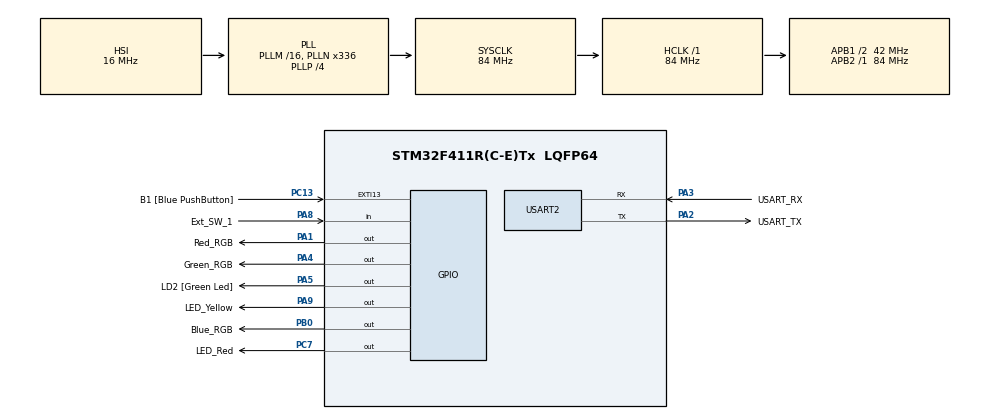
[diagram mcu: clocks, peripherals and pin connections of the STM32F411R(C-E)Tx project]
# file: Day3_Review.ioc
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Mcu.Family=STM32F4
Mcu.Name=STM32F411R(C-E)Tx
Mcu.Package=LQFP64
NVIC.PriorityGroup=NVIC_PRIORITYGROUP_0
PA1.GPIO_Label=Red_RGB
PA1.Signal=GPIO_Output
PA13.GPIO_Label=TMS
PA13.Mode=Serial_Wire
PA13.Signal=SYS_JTMS-SWDIO
PA14.GPIO_Label=TCK
PA14.Mode=Serial_Wire
PA14.Signal=SYS_JTCK-SWCLK
PA2.GPIO_Label=USART_TX
PA2.Mode=Asynchronous
PA2.Signal=USART2_TX
PA3.GPIO_Label=USART_RX
PA3.Mode=Asynchronous
PA3.Signal=USART2_RX
PA4.GPIO_Label=Green_RGB
PA4.Signal=GPIO_Output
PA5.GPIO_Label=LD2 [Green Led]
PA5.Signal=GPIO_Output
PA8.GPIO_Label=Ext_SW_1
PA8.Signal=GPIO_Input
PA9.GPIO_Label=LED_Yellow
PA9.Signal=GPIO_Output
PB0.GPIO_Label=Blue_RGB
PB0.Signal=GPIO_Output
PB3.GPIO_Label=SWO
PB3.Signal=SYS_JTDO-SWO
PC13-ANTI_TAMP.GPIO_Label=B1 [Blue PushButton]
PC13-ANTI_TAMP.GPIO_ModeDefaultEXTI=GPIO_MODE_IT_FALLING
PC13-ANTI_TAMP.Signal=GPXTI13
PC14-OSC32_IN.Mode=LSE-External-Oscillator
PC14-OSC32_IN.Signal=RCC_OSC32_IN
PC15-OSC32_OUT.Mode=LSE-External-Oscillator
PC15-OSC32_OUT.Signal=RCC_OSC32_OUT
PC7.GPIO_Label=LED_Red
PC7.Signal=GPIO_Output
PH0\ -\ OSC_IN.Mode=HSE-External-Clock-Source
PH0\ -\ OSC_IN.Signal=RCC_OSC_IN
PH1\ -\ OSC_OUT.Mode=HSE-External-Clock-Source
PH1\ -\ OSC_OUT.Signal=RCC_OSC_OUT
ProjectManager.HeapSize=0x200
ProjectManager.StackSize=0x400
ProjectManager.TargetToolchain=STM32CubeIDE
RCC.48MHZClocksFreq_Value=84000000
RCC.AHBFreq_Value=84000000
RCC.APB1CLKDivider=RCC_HCLK_DIV2
RCC.APB1Freq_Value=42000000
RCC.APB1TimFreq_Value=84000000
RCC.APB2Freq_Value=84000000
RCC.APB2TimFreq_Value=84000000
RCC.CortexFreq_Value=84000000
RCC.FLatency-AdvancedSettings=FLASH_LATENCY_2
RCC.HCLKFreq_Value=84000000
RCC.HSE_VALUE=8000000
RCC.HSI_VALUE=16000000
RCC.PLLN=336
RCC.PLLP=RCC_PLLP_DIV4
RCC.SYSCLKFreq_VALUE=84000000
RCC.SYSCLKSource=RCC_SYSCLKSOURCE_PLLCLK
RCC.VCOOutputFreq_Value=336000000
USART2.VirtualMode=VM_ASYNC
board=NUCLEO-F411RE

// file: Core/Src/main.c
/* USER CODE BEGIN Header */
/**
  ******************************************************************************
  * @file           : main.c
  * @brief          : Main program body
  ******************************************************************************
  * @attention
  *
  * Copyright (c) 2023 STMicroelectronics.
  * All rights reserved.
  *
  * This software is licensed under terms that can be found in the LICENSE file
  * in the root directory of this software component.
  * If no LICENSE file comes with this software, it is provided AS-IS.
  *
  ******************************************************************************
  */
/* USER CODE END Header */
#include "main.h"

UART_HandleTypeDef huart2;

void SystemClock_Config(void);
static void MX_GPIO_Init(void);
static void MX_USART2_UART_Init(void);

int main(void)
{

  /* MCU Configuration--------------------------------------------------------*/

  /* Reset of all peripherals, Initializes the Flash interface and the Systick. */
  HAL_Init();

  /* USER CODE BEGIN Init */
  int count = 0;
  /* USER CODE END Init */

  /* Configure the system clock */
  SystemClock_Config();

  /* Initialize all configured peripherals */
  MX_GPIO_Init();
  MX_USART2_UART_Init();

  /* Infinite loop */
  while (1)
  {

    /* USER CODE BEGIN 3 */

	  GPIO_PinState r = HAL_GPIO_ReadPin(Ext_SW_1_GPIO_Port, Ext_SW_1_Pin);
	  if(r == 1)
	  {
		  count++;
	  }

	  switch(count)
	  {
	  	case 1 :
	  		HAL_GPIO_WritePin(Green_RGB_GPIO_Port, Green_RGB_Pin, 0);
	  		HAL_GPIO_WritePin(Blue_RGB_GPIO_Port, Blue_RGB_Pin, 0);
	  		HAL_GPIO_TogglePin(Red_RGB_GPIO_Port, Red_RGB_Pin);
	  		HAL_Delay(150);
	  		break;

	  	case 2 :
	  		HAL_GPIO_WritePin(Red_RGB_GPIO_Port, Red_RGB_Pin, 0);
	  		HAL_GPIO_WritePin(Blue_RGB_GPIO_Port, Blue_RGB_Pin, 0);
	  		HAL_GPIO_TogglePin(Green_RGB_GPIO_Port, Green_RGB_Pin);
	  		HAL_Delay(150);
	  		break;

	  	case 3 :
	  		HAL_GPIO_WritePin(Red_RGB_GPIO_Port, Red_RGB_Pin, 0);
	  		HAL_GPIO_WritePin(Green_RGB_GPIO_Port, Green_RGB_Pin, 0);
	  		HAL_GPIO_TogglePin(Blue_RGB_GPIO_Port, Blue_RGB_Pin);
	  		HAL_Delay(150);
	  		break;

	  	case 4 :
	  		HAL_GPIO_TogglePin(Red_RGB_GPIO_Port, Red_RGB_Pin);
	  		HAL_GPIO_TogglePin(Green_RGB_GPIO_Port, Green_RGB_Pin);
	  		HAL_GPIO_TogglePin(Blue_RGB_GPIO_Port, Blue_RGB_Pin);
	  		HAL_Delay(250);
	  		break;

	  	default :
	  		HAL_GPIO_WritePin(Red_RGB_GPIO_Port, Red_RGB_Pin, 0);
	  		HAL_GPIO_WritePin(Green_RGB_GPIO_Port, Green_RGB_Pin, 0);
	  		HAL_GPIO_WritePin(Blue_RGB_GPIO_Port, Blue_RGB_Pin, 0);
	  		count = 0;
	  		HAL_Delay(300);
	  		break;
	  }
//	  HAL_GPIO_WritePin(Red_RGB_GPIO_Port, Red_RGB_Pin, 0);
//	  HAL_GPIO_WritePin(Green_RGB_GPIO_Port, Green_RGB_Pin, 0);
//	  HAL_GPIO_WritePin(Blue_RGB_GPIO_Port, Blue_RGB_Pin, 0);
//
//	  if (count == 1)
//	  {
//		  HAL_GPIO_TogglePin(Red_RGB_GPIO_Port, Red_RGB_Pin);
//		  HAL_Delay(300);
//	  }
//	  if (count == 2)
//	  {
//		  HAL_GPIO_TogglePin(Green_RGB_GPIO_Port, Green_RGB_Pin);
//		  HAL_Delay(300);
//	  }
//	  if (count == 3)
//	  {
//		  HAL_GPIO_TogglePin(Blue_RGB_GPIO_Port, Blue_RGB_Pin);
//		  HAL_Delay(300);
//	  }
//	  if (count == 4)
//	  {
//		 count = 0;
//	  }
//

//	  if(r1 == 1)
//	  {
//		  HAL_GPIO_TogglePin(LED_Red_GPIO_Port, LED_Red_Pin);
//		  HAL_Delay(300);
//	  }
//	  HAL_GPIO_WritePin(LED_Yellow_GPIO_Port, LED_Yellow_Pin, 1);
//	  HAL_Delay(1000); // 200ms delay
//	  HAL_GPIO_WritePin(LED_Yellow_GPIO_Port, LED_Yellow_Pin, 0);
//	  HAL_Delay(1000);
//	  if (r2 == 0)
//	  {
//		  HAL_GPIO_TogglePin(LED_Yellow_GPIO_Port, LED_Yellow_Pin); // status(0 or 1) x
//		  HAL_Delay(300);
//	  }

//	  int rr = HAL_GPIO_ReadPin(Ext_SW_1_GPIO_Port, Ext_SW_1_Pin);
//	  val += rr;
//	  val = val % 5;
//
//	  if (val == 1)
//	  {
//		  HAL_GPIO_TogglePin(Red_RGB_GPIO_Port, Red_RGB_Pin);
//		  HAL_Delay(150);
//	  }
//	  if (val == 2)
//	  {
//		  HAL_GPIO_TogglePin(Green_RGB_GPIO_Port, Green_RGB_Pin);
//		  HAL_Delay(150);
//	  }
//	  if (val == 3)
//	  {
//		  HAL_GPIO_TogglePin(Blue_RGB_GPIO_Port, Blue_RGB_Pin);
//		  HAL_Delay(150);
//	  }
//	  if (val == 4)
//	  {
//		  HAL_GPIO_TogglePin(Red_RGB_GPIO_Port, Red_RGB_Pin);
//		  HAL_GPIO_TogglePin(Green_RGB_GPIO_Port, Green_RGB_Pin);
//		  HAL_GPIO_TogglePin(Blue_RGB_GPIO_Port, Blue_RGB_Pin);
//		  HAL_Delay(150);
//	  }
//	  if (val == 0)
//	  {
//		  HAL_GPIO_WritePin(Red_RGB_GPIO_Port, Red_RGB_Pin, 0);
//		  HAL_GPIO_WritePin(Green_RGB_GPIO_Port, Green_RGB_Pin, 0);
//		  HAL_GPIO_WritePin(Blue_RGB_GPIO_Port, Blue_RGB_Pin, 0);
//		  HAL_Delay(300);
//	  }

  }
  /* USER CODE END 3 */
}

void SystemClock_Config(void)
{
  RCC_OscInitTypeDef RCC_OscInitStruct = {0};
  RCC_ClkInitTypeDef RCC_ClkInitStruct = {0};

  /** Configure the main internal regulator output voltage
  */
  __HAL_RCC_PWR_CLK_ENABLE();
  __HAL_PWR_VOLTAGESCALING_CONFIG(PWR_REGULATOR_VOLTAGE_SCALE1);

  /** Initializes the RCC Oscillators according to the specified parameters
  * in the RCC_OscInitTypeDef structure.
  */
  RCC_OscInitStruct.OscillatorType = RCC_OSCILLATORTYPE_HSI;
  RCC_OscInitStruct.HSIState = RCC_HSI_ON;
  RCC_OscInitStruct.HSICalibrationValue = RCC_HSICALIBRATION_DEFAULT;
  RCC_OscInitStruct.PLL.PLLState = RCC_PLL_ON;
  RCC_OscInitStruct.PLL.PLLSource = RCC_PLLSOURCE_HSI;
  RCC_OscInitStruct.PLL.PLLM = 16;
  RCC_OscInitStruct.PLL.PLLN = 336;
  RCC_OscInitStruct.PLL.PLLP = RCC_PLLP_DIV4;
  RCC_OscInitStruct.PLL.PLLQ = 4;
  if (HAL_RCC_OscConfig(&RCC_OscInitStruct) != HAL_OK)
  {
    Error_Handler();
  }

  /** Initializes the CPU, AHB and APB buses clocks
  */
  RCC_ClkInitStruct.ClockType = RCC_CLOCKTYPE_HCLK|RCC_CLOCKTYPE_SYSCLK
                              |RCC_CLOCKTYPE_PCLK1|RCC_CLOCKTYPE_PCLK2;
  RCC_ClkInitStruct.SYSCLKSource = RCC_SYSCLKSOURCE_PLLCLK;
  RCC_ClkInitStruct.AHBCLKDivider = RCC_SYSCLK_DIV1;
  RCC_ClkInitStruct.APB1CLKDivider = RCC_HCLK_DIV2;
  RCC_ClkInitStruct.APB2CLKDivider = RCC_HCLK_DIV1;

  if (HAL_RCC_ClockConfig(&RCC_ClkInitStruct, FLASH_LATENCY_2) != HAL_OK)
  {
    Error_Handler();
  }
}

static void MX_USART2_UART_Init(void)
{

  huart2.Instance = USART2;
  huart2.Init.BaudRate = 115200;
  huart2.Init.WordLength = UART_WORDLENGTH_8B;
  huart2.Init.StopBits = UART_STOPBITS_1;
  huart2.Init.Parity = UART_PARITY_NONE;
  huart2.Init.Mode = UART_MODE_TX_RX;
  huart2.Init.HwFlowCtl = UART_HWCONTROL_NONE;
  huart2.Init.OverSampling = UART_OVERSAMPLING_16;
  if (HAL_UART_Init(&huart2) != HAL_OK)
  {
    Error_Handler();
  }

}

static void MX_GPIO_Init(void)
{
  GPIO_InitTypeDef GPIO_InitStruct = {0};

  /* GPIO Ports Clock Enable */
  __HAL_RCC_GPIOC_CLK_ENABLE();
  __HAL_RCC_GPIOH_CLK_ENABLE();
  __HAL_RCC_GPIOA_CLK_ENABLE();
  __HAL_RCC_GPIOB_CLK_ENABLE();

  /*Configure GPIO pin Output Level */
  HAL_GPIO_WritePin(GPIOA, Red_RGB_Pin|Green_RGB_Pin|LD2_Pin|LED_Yellow_Pin, GPIO_PIN_RESET);

  /*Configure GPIO pin Output Level */
  HAL_GPIO_WritePin(Blue_RGB_GPIO_Port, Blue_RGB_Pin, GPIO_PIN_RESET);

  /*Configure GPIO pin Output Level */
  HAL_GPIO_WritePin(LED_Red_GPIO_Port, LED_Red_Pin, GPIO_PIN_RESET);

  /*Configure GPIO pin : B1_Pin */
  GPIO_InitStruct.Pin = B1_Pin;
  GPIO_InitStruct.Mode = GPIO_MODE_IT_FALLING;
  GPIO_InitStruct.Pull = GPIO_NOPULL;
  HAL_GPIO_Init(B1_GPIO_Port, &GPIO_InitStruct);

  /*Configure GPIO pins : Red_RGB_Pin Green_RGB_Pin LD2_Pin LED_Yellow_Pin */
  GPIO_InitStruct.Pin = Red_RGB_Pin|Green_RGB_Pin|LD2_Pin|LED_Yellow_Pin;
  GPIO_InitStruct.Mode = GPIO_MODE_OUTPUT_PP;
  GPIO_InitStruct.Pull = GPIO_NOPULL;
  GPIO_InitStruct.Speed = GPIO_SPEED_FREQ_LOW;
  HAL_GPIO_Init(GPIOA, &GPIO_InitStruct);

  /*Configure GPIO pin : Blue_RGB_Pin */
  GPIO_InitStruct.Pin = Blue_RGB_Pin;
  GPIO_InitStruct.Mode = GPIO_MODE_OUTPUT_PP;
  GPIO_InitStruct.Pull = GPIO_NOPULL;
  GPIO_InitStruct.Speed = GPIO_SPEED_FREQ_LOW;
  HAL_GPIO_Init(Blue_RGB_GPIO_Port, &GPIO_InitStruct);

  /*Configure GPIO pin : LED_Red_Pin */
  GPIO_InitStruct.Pin = LED_Red_Pin;
  GPIO_InitStruct.Mode = GPIO_MODE_OUTPUT_PP;
  GPIO_InitStruct.Pull = GPIO_NOPULL;
  GPIO_InitStruct.Speed = GPIO_SPEED_FREQ_LOW;
  HAL_GPIO_Init(LED_Red_GPIO_Port, &GPIO_InitStruct);

  /*Configure GPIO pin : Ext_SW_1_Pin */
  GPIO_InitStruct.Pin = Ext_SW_1_Pin;
  GPIO_InitStruct.Mode = GPIO_MODE_INPUT;
  GPIO_InitStruct.Pull = GPIO_NOPULL;
  HAL_GPIO_Init(Ext_SW_1_GPIO_Port, &GPIO_InitStruct);

}

void Error_Handler(void)
{
  __disable_irq();
  while (1)
  {
  }
}
